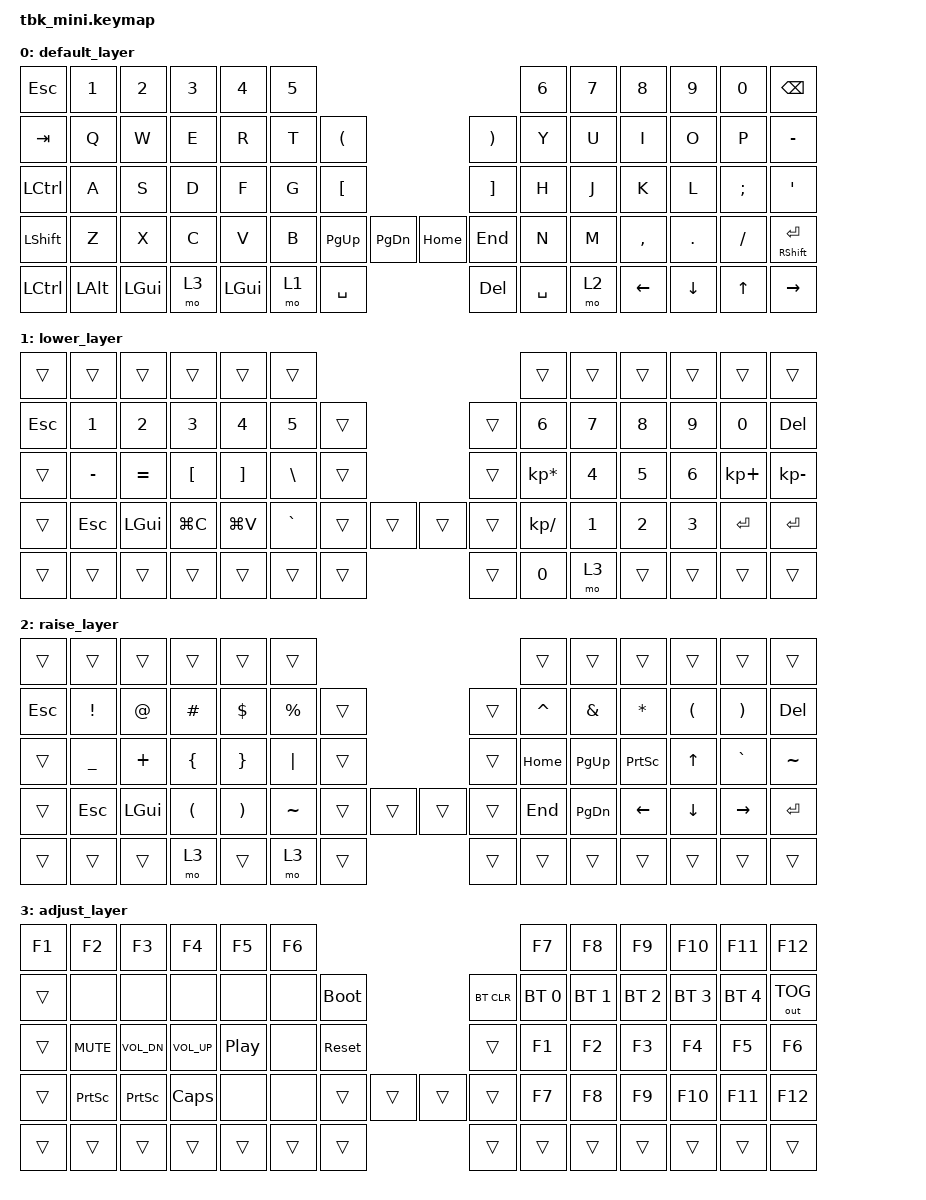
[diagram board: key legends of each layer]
/*
 * Copyright (c) 2020 The ZMK Contributors
 *
 * SPDX-License-Identifier: MIT
 */

#include <behaviors.dtsi>
#include <dt-bindings/zmk/keys.h>
#include <dt-bindings/zmk/bt.h>
#include <dt-bindings/zmk/rgb.h>
#include <dt-bindings/zmk/outputs.h>


#define DEFAULT 0
#define NUMBER  1
#define SYMBOL  2
#define HOTKEY  3
#define SETTING 4
#define AS(keycode) &as LS(keycode) keycode




/ {
        behaviors {
        td0: tap_dance_0 {
            compatible = "zmk,behavior-tap-dance";
            label = "TAP_DANCE_0";
            #binding-cells = <0>;
            tapping-term-ms = <200>;
            bindings = <&mo 0>, <&to 0>, <&to 0>;
        };
        
    };  

         behaviors {
       as: auto_shift {
        compatible = "zmk,behavior-hold-tap";
        label = "AUTO_SHIFT";
        #binding-cells = <2>;
        tapping-term-ms = <160>;
        quick-tap-ms = <0>;
        flavor = "tap-preferred";
        bindings = <&kp>, <&kp>;
                };
modcp: mod_copy {
        compatible = "zmk,behavior-mod-morph";
        label = "MOD_COPY";
        #binding-cells = <0>;
        bindings = <&as LS(C) C>, <&kp C>;
        mods = <(LGUI | RGUI)>;
};
  
        };


    macros {
        macro_phone: macro_phone {
            // 1351
            label = "MACRO_PHONE";
            compatible = "zmk,behavior-macro";
            #binding-cells = <0>;
            bindings
                = < &kp N1 &kp N3 &kp N5  &kp N1>
                ;
        };
        
        macro_email_g: macro_email_g {
            // 135115
            compatible = "zmk,behavior-macro";
            label = "MACRO_EMAIL_GMAIL";
            #binding-cells = <0>;
            bindings
                = < &kp N1 &kp N3 &kp N5  &kp N1 &kp N1 &kp N5 >
                ;
        };
         
    };
    
    combos {
        compatible = "zmk,combos";
        combo_esc {
            timeout-ms = <50>;
            key-positions = <14 15>;
            bindings = <&kp ESC>;
        };
        
         combo_LSHFT {
            timeout-ms = <50>;
            key-positions = <26 27>;
            bindings = <&kp  LSHFT>;
        };
        
            combo_LGUI {
            timeout-ms = <50>;
            key-positions = <38 39>;
            bindings = <&kp LGUI>;
        };
        
   
          
  };


 {
    keymap {
        compatible =  "zmk,keymap" ;

        default_layer {
// --------------------------------------------------------------------------------------------------------------------------------
// | ESC   |  1  |  2  |   3   |  4  |  5  |                   ---                |  6    |  7    |  8    |  9   | 0  |    BKSP   |
// | TAB   |  Q  |  W  |   E   |  R  |  T  |   (   |           ---        |  )    |  Y    |  U    |  I    |  O   | P  |     -     |
// | CTRL  |  A  |  S  |   D   |  F  |  G  |   [   |           ---        |  ]    |  H    |  J    |  K    |  L   | ;  |     '     |
// | SHIFT |  Z  |  X  |   C   |  V  |  B  | PG_UP | PG_DOWN | --- | HOME | END   |  N    |  M    |  ,    |  .   | /  | SHFT(RET) |
// | CRTL  | ALT | GUI | LOWER |    GUI    | LOWER | SPACE   | --- | DEL  | SPACE |     RAISE     | LEFT  | DOWN | UP |   RIGHT   |
            bindings = <
   &kp ESC   &kp N1   &kp N2   &kp N3 &kp N4   &kp N5                                        &kp N6    &kp N7 &kp N8    &kp N9   &kp N0   &kp BSPC
   &kp TAB   &kp Q    &kp W    &kp E  &kp R    &kp T  &kp LPAR                     &kp RPAR  &kp Y     &kp U  &kp I     &kp O    &kp P    &kp MINUS
   &kp LCTRL &kp A    &kp S    &kp D  &kp F    &kp G  &kp LBKT                     &kp RBKT  &kp H     &kp J  &kp K     &kp L    &kp SEMI &kp SQT
   &kp LSHFT &kp Z    &kp X    &kp C  &kp V    &kp B  &kp PG_UP &kp PG_DN &kp HOME &kp END   &kp N     &kp M  &kp COMMA &kp DOT  &kp FSLH &mt RSHFT RET
   &kp LCTRL &kp LALT &kp LGUI &mo 3      &kp LGUI    &mo 1     &kp SPACE &kp DEL  &kp SPACE       &mo 2      &kp LEFT  &kp DOWN &kp UP   &kp RIGHT
            >;

        };
        
        lower_layer {
// --------------------------------------------------------------------------------------------------------------------------
// | ESC   |  1  |  2  |   3   |   4   |  5  |                   ---              |  6  |  7  |   8  |  9   |  0  |  DEL  |
// | ESC   |  1  |  2  |   3   |   4   |  5  |   (   |           ---        |  )  |  6  |  7  |   8  |  9   |  0  |  DEL  |
// | CTRL  |  -  |  =  |   [   |   ]   |  \  |   [   |           ---        |  ]  |  *  |  4  |   5  |  6   |  +  |   -   |
// | SHIFT | ESC | GUI | COPY  | PASTE |     | PG_UP | PG_DOWN | --- | HOME | END |  \  |  1  |   2  |  3   | RET |  RET  |
// | CRTL  | ALT | GUI | LOWER |     GUI     | LOWER | SPACE   | --- | DEL  |  0  |    RAISE  | LEFT | DOWN | UP  | RIGHT |
            bindings = <
   &trans  &trans    &trans    &trans    &trans    &trans                                &trans          &trans    &trans    &trans    &trans      &trans
   &kp ESC &kp N1    &kp N2    &kp N3    &kp N4    &kp N5    &trans               &trans &kp N6          &kp N7    &kp N8    &kp N9    &kp N0      &kp DEL
   &trans  &kp MINUS &kp EQUAL &kp LBKT  &kp RBKT  &kp BSLH  &trans               &trans &kp KP_MULTIPLY &kp N4    &kp N5    &kp N6    &kp KP_PLUS &kp KP_MINUS
   &trans  &kp ESC   &kp LGUI  &kp LG(C) &kp LG(V) &kp GRAVE &trans &trans &trans &trans &kp KP_DIVIDE   &kp N1    &kp N2    &kp N3    &kp RET     &kp RET
   &trans  &trans    &trans    &trans          &trans        &trans &trans &trans &kp N0          &mo 3            &trans    &trans    &trans      &trans
            >;
        };

        raise_layer {
// ----------------------------------------------------------------------------------------------------------------------------
// | ESC   |  1  |  2  |   3   |  4  |  5  |                   ---                |  6   |  7   |  8   |  9   |  0    |  DEL  |
// | ESC   |  !  |  @  |   #   |  $  |  %  |   (   |           ---        |  )    |  ^   |  &   |  *   |  (   |  )    |  DEL  |
// | CTRL  |  _  |  +  |   {   |  }  | "|" |   [   |           ---        |  ]    | HOME | PGUP | PRSC | UP   |  `    |   ~   |
// | SHIFT | ESC | GUI |   (   |  )  |     | PG_UP | PG_DOWN | --- | HOME | END   | END  | PGDN | LEFT | DOWN | RIGHT |  RET  |
// | CRTL  | ALT | GUI | LOWER |    GUI    | LOWER | SPACE   | --- | DEL  | SPACE |    RAISE    | LEFT | DOWN | UP    | RIGHT |
            bindings = <
   &trans  &trans    &trans   &trans   &trans   &trans                                &trans    &trans    &trans    &trans   &trans    &trans
   &kp ESC &kp EXCL  &kp AT   &kp HASH &kp DLLR &kp PRCNT &trans               &trans &kp CARET &kp AMPS  &kp ASTRK &kp LPAR &kp RPAR  &kp DEL
   &trans  &kp UNDER &kp PLUS &kp LBRC &kp RBRC &kp PIPE  &trans               &trans &kp HOME  &kp PG_UP &kp PSCRN &kp UP   &kp GRAVE &kp TILDE
   &trans  &kp ESC   &kp LGUI &kp LPAR &kp RPAR &kp TILDE &trans &trans &trans &trans &kp END   &kp PG_DN &kp LEFT  &kp DOWN &kp RIGHT &kp RET
   &trans  &trans    &trans   &mo 3         &trans        &mo 3  &trans &trans &trans        &trans       &trans    &trans   &trans    &trans
            >;
        };
        
        adjust_layer {
// -----------------------------------------------------------------------------------------
// |  F1   |  F2   |    F3    |    F4     |     F5     | F6 |                   ---                | F7  | F8  |  F9  |  F10 | F11 | F12        |
// | TAB   |       |          |           |            |    | BOOTL |           ---        |  )    | BT1 | BT2 |  BT3 |  BT4 | BT5 | OUTPUT TGL |
// | CTRL  | MUTE  |  Vol Dn  |  Vol Up   | Play/Pause |    | RESET |           ---        |  ]    | F1  | F2  |  F3  |  F4  | F5  | F6         |
// | SHIFT | PSCRN |  PSCRN   |   CAPS    |            |    | PG_UP | PG_DOWN | --- | HOME | END   | F7  | F8  |  F9  |  F10 | F11 | F12        |
// | CRTL  | ALT   |  GUI     |   LOWER   |      GUI        | LOWER | SPACE   | --- | DEL  | SPACE |   RAISE   | LEFT | DOWN | UP  |   RIGHT    |
                        bindings = <
   &kp F1  &kp F2     &kp F3       &kp F4       &kp F5           &kp F6                                 &kp F7       &kp F8       &kp F9       &kp F10      &kp F11       &kp F12
   &trans  &none      &none        &none        &none            &none  &bootloader          &bt BT_CLR &bt BT_SEL 0 &bt BT_SEL 1 &bt BT_SEL 2 &bt BT_SEL 3 &bt BT_SEL 4  &out OUT_TOG
   &trans  &kp K_MUTE &kp C_VOL_DN &kp C_VOL_UP &kp C_PLAY_PAUSE &none  &sys_reset               &trans     &kp F1       &kp F2       &kp F3       &kp F4       &kp F5        &kp F6
   &trans  &kp PSCRN  &kp PSCRN    &kp CLCK     &none            &none  &trans &trans &trans &trans     &kp F7       &kp F8       &kp F9       &kp F10      &kp F11       &kp F12
   &trans  &trans     &trans       &trans              &trans           &trans &trans &trans &trans          &trans           &trans       &trans       &trans        &trans
            >;
        };
    };
};

